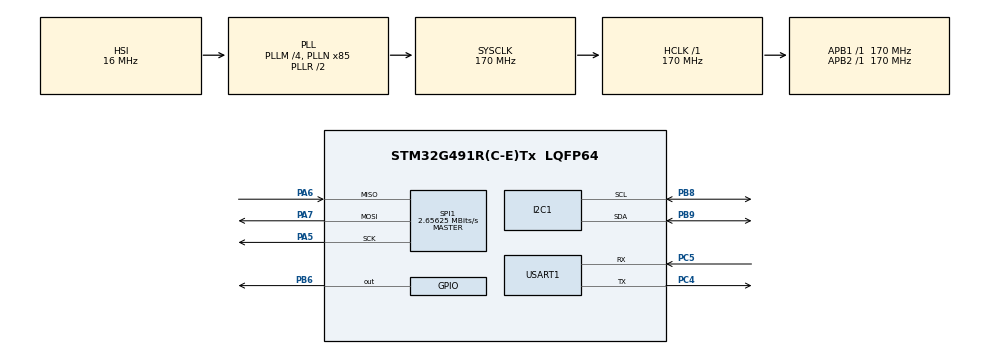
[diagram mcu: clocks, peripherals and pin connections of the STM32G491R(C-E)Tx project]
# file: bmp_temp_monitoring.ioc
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I2C1.Timing=0x40B285C2
Mcu.Family=STM32G4
Mcu.Name=STM32G491R(C-E)Tx
Mcu.Package=LQFP64
NVIC.PriorityGroup=NVIC_PRIORITYGROUP_4
PA5.Mode=Full_Duplex_Master
PA5.Signal=SPI1_SCK
PA6.Mode=Full_Duplex_Master
PA6.Signal=SPI1_MISO
PA7.Mode=Full_Duplex_Master
PA7.Signal=SPI1_MOSI
PB6.Signal=GPIO_Output
PB8-BOOT0.Mode=I2C
PB8-BOOT0.Signal=I2C1_SCL
PB9.Mode=I2C
PB9.Signal=I2C1_SDA
PC4.Mode=Asynchronous
PC4.Signal=USART1_TX
PC5.Mode=Asynchronous
PC5.Signal=USART1_RX
ProjectManager.HeapSize=0x200
ProjectManager.StackSize=0x400
ProjectManager.TargetToolchain=STM32CubeIDE
RCC.ADC12Freq_Value=170000000
RCC.ADC345Freq_Value=170000000
RCC.AHBFreq_Value=170000000
RCC.APB1Freq_Value=170000000
RCC.APB1TimFreq_Value=170000000
RCC.APB2Freq_Value=170000000
RCC.APB2TimFreq_Value=170000000
RCC.CortexFreq_Value=170000000
RCC.EXTERNAL_CLOCK_VALUE=12288000
RCC.HCLKFreq_Value=170000000
RCC.HSE_VALUE=8000000
RCC.HSI48_VALUE=48000000
RCC.HSI_VALUE=16000000
RCC.LSE_VALUE=32768
RCC.PLLM=RCC_PLLM_DIV4
RCC.PLLN=85
RCC.SYSCLKFreq_VALUE=170000000
RCC.SYSCLKSource=RCC_SYSCLKSOURCE_PLLCLK
RCC.VCOOutputFreq_Value=340000000
SPI1.BaudRatePrescaler=SPI_BAUDRATEPRESCALER_64
SPI1.CalculateBaudRate=2.65625 MBits/s
SPI1.Direction=SPI_DIRECTION_2LINES
SPI1.Mode=SPI_MODE_MASTER
SPI1.VirtualType=VM_MASTER
USART1.VirtualMode-Asynchronous=VM_ASYNC
VP_SYS_VS_DBSignals.Mode=DisableDeadBatterySignals
board=custom

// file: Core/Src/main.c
/* USER CODE BEGIN Header */
/**
  ******************************************************************************
  * @file           : main.c
  * @brief          : Main program body
  ******************************************************************************
  * @attention
  *
  * Copyright (c) 2024 STMicroelectronics.
  * All rights reserved.
  *
  * This software is licensed under terms that can be found in the LICENSE file
  * in the root directory of this software component.
  * If no LICENSE file comes with this software, it is provided AS-IS.
  *
  ******************************************************************************
  */
/* USER CODE END Header */
#include "main.h"
#include <stdlib.h>
#include <string.h>
#include <stdio.h>
/* USER CODE BEGIN Includes */
#include "BMP280/bmp280.h"
/* USER CODE END Includes */

/* USER CODE BEGIN PM */
BMP280_HandleTypedef bmp280;

float pressure, temperature, humidity;

uint16_t size;
uint8_t Data[256];
/* USER CODE END PM */

I2C_HandleTypeDef hi2c1;

SPI_HandleTypeDef hspi1;

UART_HandleTypeDef huart1;

void SystemClock_Config(void);
static void MX_GPIO_Init(void);
static void MX_SPI1_Init(void);
static void MX_USART1_UART_Init(void);
static void MX_I2C1_Init(void);

int main(void)
{

  /* MCU Configuration--------------------------------------------------------*/

  /* Reset of all peripherals, Initializes the Flash interface and the Systick. */
  HAL_Init();

  /* Configure the system clock */
  SystemClock_Config();

  /* Initialize all configured peripherals */
  MX_GPIO_Init();
  MX_SPI1_Init();
  MX_USART1_UART_Init();
  MX_I2C1_Init();
  /* USER CODE BEGIN 2 */
	bmp280_init_default_params(&bmp280.params);
	bmp280.addr = BMP280_I2C_ADDRESS_0;
	bmp280.i2c = &hi2c1;

	while (!bmp280_init(&bmp280, &bmp280.params)) {
		size = sprintf((char *)Data, "BMP280 initialization failed\n");
		HAL_UART_Transmit(&huart1, Data, size, 1000);
		HAL_Delay(2000);
	}
	bool bme280p = bmp280.id == BME280_CHIP_ID;
	size = sprintf((char *)Data, "BMP280: found %s\n", bme280p ? "BME280" : "BMP280");
	HAL_UART_Transmit(&huart1, Data, size, 1000);
  /* USER CODE END 2 */

  /* Infinite loop */
  while (1)
  {

    /* USER CODE BEGIN 3 */
	  HAL_Delay(100);
	  		while (!bmp280_read_float(&bmp280, &temperature, &pressure, &humidity)) {
	  			size = sprintf((char *)Data,
	  					"Temperature/pressure reading failed\n");
	  			HAL_UART_Transmit(&huart1, Data, size, 1000);
	  			HAL_Delay(2000);
	  		}

	  		size = sprintf((char *)Data,"Pressure: %.2f Pa, Temperature: %.2f C",
	  				pressure, temperature);
	  		HAL_UART_Transmit(&huart1, Data, size, 1000);
	  		if (bme280p) {
	  			size = sprintf((char *)Data,", Humidity: %.2f\n", humidity);
	  			HAL_UART_Transmit(&huart1, Data, size, 1000);
	  		}

	  		else {
	  			size = sprintf((char *)Data, "\n");
	  			HAL_UART_Transmit(&huart1, Data, size, 1000);
	  		}
	  		HAL_Delay(2000);
  }
  /* USER CODE END 3 */
}

void SystemClock_Config(void)
{
  RCC_OscInitTypeDef RCC_OscInitStruct = {0};
  RCC_ClkInitTypeDef RCC_ClkInitStruct = {0};

  /** Configure the main internal regulator output voltage
  */
  HAL_PWREx_ControlVoltageScaling(PWR_REGULATOR_VOLTAGE_SCALE1_BOOST);

  /** Initializes the RCC Oscillators according to the specified parameters
  * in the RCC_OscInitTypeDef structure.
  */
  RCC_OscInitStruct.OscillatorType = RCC_OSCILLATORTYPE_HSI;
  RCC_OscInitStruct.HSIState = RCC_HSI_ON;
  RCC_OscInitStruct.HSICalibrationValue = RCC_HSICALIBRATION_DEFAULT;
  RCC_OscInitStruct.PLL.PLLState = RCC_PLL_ON;
  RCC_OscInitStruct.PLL.PLLSource = RCC_PLLSOURCE_HSI;
  RCC_OscInitStruct.PLL.PLLM = RCC_PLLM_DIV4;
  RCC_OscInitStruct.PLL.PLLN = 85;
  RCC_OscInitStruct.PLL.PLLP = RCC_PLLP_DIV2;
  RCC_OscInitStruct.PLL.PLLQ = RCC_PLLQ_DIV2;
  RCC_OscInitStruct.PLL.PLLR = RCC_PLLR_DIV2;
  if (HAL_RCC_OscConfig(&RCC_OscInitStruct) != HAL_OK)
  {
    Error_Handler();
  }

  /** Initializes the CPU, AHB and APB buses clocks
  */
  RCC_ClkInitStruct.ClockType = RCC_CLOCKTYPE_HCLK|RCC_CLOCKTYPE_SYSCLK
                              |RCC_CLOCKTYPE_PCLK1|RCC_CLOCKTYPE_PCLK2;
  RCC_ClkInitStruct.SYSCLKSource = RCC_SYSCLKSOURCE_PLLCLK;
  RCC_ClkInitStruct.AHBCLKDivider = RCC_SYSCLK_DIV1;
  RCC_ClkInitStruct.APB1CLKDivider = RCC_HCLK_DIV1;
  RCC_ClkInitStruct.APB2CLKDivider = RCC_HCLK_DIV1;

  if (HAL_RCC_ClockConfig(&RCC_ClkInitStruct, FLASH_LATENCY_4) != HAL_OK)
  {
    Error_Handler();
  }
}

static void MX_I2C1_Init(void)
{

  hi2c1.Instance = I2C1;
  hi2c1.Init.Timing = 0x40B285C2;
  hi2c1.Init.OwnAddress1 = 0;
  hi2c1.Init.AddressingMode = I2C_ADDRESSINGMODE_7BIT;
  hi2c1.Init.DualAddressMode = I2C_DUALADDRESS_DISABLE;
  hi2c1.Init.OwnAddress2 = 0;
  hi2c1.Init.OwnAddress2Masks = I2C_OA2_NOMASK;
  hi2c1.Init.GeneralCallMode = I2C_GENERALCALL_DISABLE;
  hi2c1.Init.NoStretchMode = I2C_NOSTRETCH_DISABLE;
  if (HAL_I2C_Init(&hi2c1) != HAL_OK)
  {
    Error_Handler();
  }

  /** Configure Analogue filter
  */
  if (HAL_I2CEx_ConfigAnalogFilter(&hi2c1, I2C_ANALOGFILTER_ENABLE) != HAL_OK)
  {
    Error_Handler();
  }

  /** Configure Digital filter
  */
  if (HAL_I2CEx_ConfigDigitalFilter(&hi2c1, 0) != HAL_OK)
  {
    Error_Handler();
  }

}

static void MX_SPI1_Init(void)
{

  /* SPI1 parameter configuration*/
  hspi1.Instance = SPI1;
  hspi1.Init.Mode = SPI_MODE_MASTER;
  hspi1.Init.Direction = SPI_DIRECTION_2LINES;
  hspi1.Init.DataSize = SPI_DATASIZE_4BIT;
  hspi1.Init.CLKPolarity = SPI_POLARITY_LOW;
  hspi1.Init.CLKPhase = SPI_PHASE_1EDGE;
  hspi1.Init.NSS = SPI_NSS_SOFT;
  hspi1.Init.BaudRatePrescaler = SPI_BAUDRATEPRESCALER_64;
  hspi1.Init.FirstBit = SPI_FIRSTBIT_MSB;
  hspi1.Init.TIMode = SPI_TIMODE_DISABLE;
  hspi1.Init.CRCCalculation = SPI_CRCCALCULATION_DISABLE;
  hspi1.Init.CRCPolynomial = 7;
  hspi1.Init.CRCLength = SPI_CRC_LENGTH_DATASIZE;
  hspi1.Init.NSSPMode = SPI_NSS_PULSE_ENABLE;
  if (HAL_SPI_Init(&hspi1) != HAL_OK)
  {
    Error_Handler();
  }

}

static void MX_USART1_UART_Init(void)
{

  huart1.Instance = USART1;
  huart1.Init.BaudRate = 115200;
  huart1.Init.WordLength = UART_WORDLENGTH_8B;
  huart1.Init.StopBits = UART_STOPBITS_1;
  huart1.Init.Parity = UART_PARITY_NONE;
  huart1.Init.Mode = UART_MODE_TX_RX;
  huart1.Init.HwFlowCtl = UART_HWCONTROL_NONE;
  huart1.Init.OverSampling = UART_OVERSAMPLING_16;
  huart1.Init.OneBitSampling = UART_ONE_BIT_SAMPLE_DISABLE;
  huart1.Init.ClockPrescaler = UART_PRESCALER_DIV1;
  huart1.AdvancedInit.AdvFeatureInit = UART_ADVFEATURE_NO_INIT;
  if (HAL_UART_Init(&huart1) != HAL_OK)
  {
    Error_Handler();
  }
  if (HAL_UARTEx_SetTxFifoThreshold(&huart1, UART_TXFIFO_THRESHOLD_1_8) != HAL_OK)
  {
    Error_Handler();
  }
  if (HAL_UARTEx_SetRxFifoThreshold(&huart1, UART_RXFIFO_THRESHOLD_1_8) != HAL_OK)
  {
    Error_Handler();
  }
  if (HAL_UARTEx_DisableFifoMode(&huart1) != HAL_OK)
  {
    Error_Handler();
  }

}

static void MX_GPIO_Init(void)
{
  GPIO_InitTypeDef GPIO_InitStruct = {0};

  /* GPIO Ports Clock Enable */
  __HAL_RCC_GPIOA_CLK_ENABLE();
  __HAL_RCC_GPIOC_CLK_ENABLE();
  __HAL_RCC_GPIOB_CLK_ENABLE();

  /*Configure GPIO pin Output Level */
  HAL_GPIO_WritePin(GPIOB, GPIO_PIN_6, GPIO_PIN_RESET);

  /*Configure GPIO pin : PB6 */
  GPIO_InitStruct.Pin = GPIO_PIN_6;
  GPIO_InitStruct.Mode = GPIO_MODE_OUTPUT_PP;
  GPIO_InitStruct.Pull = GPIO_NOPULL;
  GPIO_InitStruct.Speed = GPIO_SPEED_FREQ_LOW;
  HAL_GPIO_Init(GPIOB, &GPIO_InitStruct);

}

void Error_Handler(void)
{
  __disable_irq();
  while (1)
  {
  }
}
